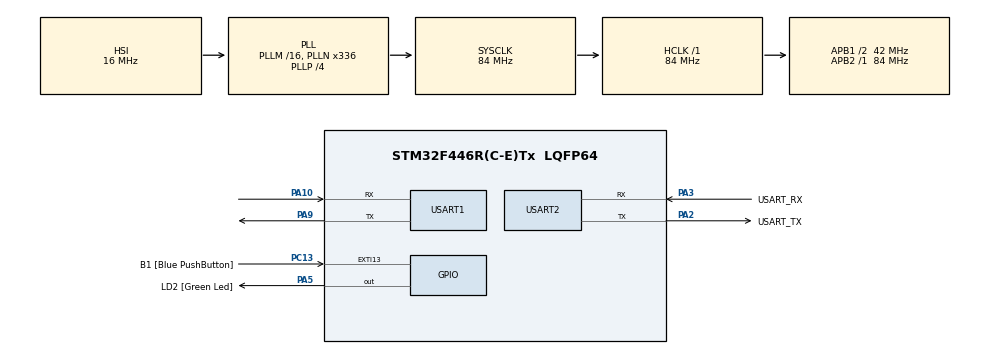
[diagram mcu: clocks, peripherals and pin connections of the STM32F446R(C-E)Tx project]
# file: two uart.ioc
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Mcu.Family=STM32F4
Mcu.Name=STM32F446R(C-E)Tx
Mcu.Package=LQFP64
NVIC.PriorityGroup=NVIC_PRIORITYGROUP_0
NVIC.USART1_IRQn=true\:0\:0\:false\:false\:true\:true\:true\:true
NVIC.USART2_IRQn=true\:0\:0\:false\:false\:true\:true\:true\:true
PA10.Mode=Asynchronous
PA10.Signal=USART1_RX
PA13.GPIO_Label=TMS
PA13.Mode=Serial_Wire
PA13.Signal=SYS_JTMS-SWDIO
PA14.GPIO_Label=TCK
PA14.Mode=Serial_Wire
PA14.Signal=SYS_JTCK-SWCLK
PA2.GPIO_Label=USART_TX
PA2.Mode=Asynchronous
PA2.Signal=USART2_TX
PA3.GPIO_Label=USART_RX
PA3.Mode=Asynchronous
PA3.Signal=USART2_RX
PA5.GPIO_Label=LD2 [Green Led]
PA5.Signal=GPIO_Output
PA9.Mode=Asynchronous
PA9.Signal=USART1_TX
PB3.GPIO_Label=SWO
PB3.Signal=SYS_JTDO-SWO
PC13.GPIO_Label=B1 [Blue PushButton]
PC13.GPIO_ModeDefaultEXTI=GPIO_MODE_IT_FALLING
PC13.Signal=GPXTI13
PC14-OSC32_IN.Mode=LSE-External-Oscillator
PC14-OSC32_IN.Signal=RCC_OSC32_IN
PC15-OSC32_OUT.Mode=LSE-External-Oscillator
PC15-OSC32_OUT.Signal=RCC_OSC32_OUT
PH0-OSC_IN.Mode=HSE-External-Oscillator
PH0-OSC_IN.Signal=RCC_OSC_IN
PH1-OSC_OUT.Mode=HSE-External-Oscillator
PH1-OSC_OUT.Signal=RCC_OSC_OUT
ProjectManager.HeapSize=0x200
ProjectManager.StackSize=0x400
ProjectManager.TargetToolchain=STM32CubeIDE
RCC.48MHZClocksFreq_Value=84000000
RCC.AHBFreq_Value=84000000
RCC.APB1CLKDivider=RCC_HCLK_DIV2
RCC.APB1Freq_Value=42000000
RCC.APB1TimFreq_Value=84000000
RCC.APB2Freq_Value=84000000
RCC.APB2TimFreq_Value=84000000
RCC.CortexFreq_Value=84000000
RCC.FLatency-AdvancedSettings=FLASH_LATENCY_2
RCC.HCLKFreq_Value=84000000
RCC.HSE_VALUE=8000000
RCC.HSI_VALUE=16000000
RCC.PLLN=336
RCC.PLLP=RCC_PLLP_DIV4
RCC.SYSCLKFreq_VALUE=84000000
RCC.SYSCLKSource=RCC_SYSCLKSOURCE_PLLCLK
RCC.USBFreq_Value=168000000
RCC.VCOOutputFreq_Value=336000000
USART1.VirtualMode=VM_ASYNC
USART2.VirtualMode=VM_ASYNC
board=NUCLEO-F446RE

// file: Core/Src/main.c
/* USER CODE BEGIN Header */
/**
  ******************************************************************************
  * @file           : main.c
  * @brief          : Main program body
  ******************************************************************************
  * @attention
  *
  * Copyright (c) 2025 STMicroelectronics.
  * All rights reserved.
  *
  * This software is licensed under terms that can be found in the LICENSE file
  * in the root directory of this software component.
  * If no LICENSE file comes with this software, it is provided AS-IS.
  *
  ******************************************************************************
  */
/* USER CODE END Header */
#include "main.h"

UART_HandleTypeDef huart1;
UART_HandleTypeDef huart2;
uint8_t buff1[10];
uint8_t buff2[10];
uint8_t clr[10];

/* USER CODE BEGIN PV */
void clr1()
{
for (int i = 0; i < 10; ++i)
{
	buff1[i]=clr[i];
}
}
void clr2()
{
for (int i = 0; i < 10; ++i)
{
	buff2[i]=clr[i];
}
}

/* USER CODE END PV */

void SystemClock_Config(void);
static void MX_GPIO_Init(void);
static void MX_USART2_UART_Init(void);
static void MX_USART1_UART_Init(void);

/* USER CODE BEGIN 0 */
void HAL_UART_RxCpltCallback(UART_HandleTypeDef *huart)
{
	if(huart==&huart2)
	{
	HAL_UART_Receive_IT(&huart2, buff2, 10);
	HAL_UART_Transmit_IT(&huart1, buff2, 10);
	}
	if(huart==&huart1)
	{
	HAL_UART_Receive_IT(&huart1, buff1, 10);
	HAL_UART_Transmit_IT(&huart2, buff1, 10);
	}

}
void HAL_UART_TxCpltCallback(UART_HandleTypeDef *huart)
{
	if(huart==&huart2)
	{
	HAL_UART_Transmit(&huart1, buff2, 10,200);
	clr1();
	}
	if(huart==&huart1)
	{
	HAL_UART_Transmit(&huart2, buff1, 10,200);
	clr2();
	}

}
/* USER CODE END 0 */

int main(void)
{

  /* MCU Configuration--------------------------------------------------------*/

  /* Reset of all peripherals, Initializes the Flash interface and the Systick. */
  HAL_Init();

  /* Configure the system clock */
  SystemClock_Config();

  /* Initialize all configured peripherals */
  MX_GPIO_Init();
  MX_USART2_UART_Init();
  MX_USART1_UART_Init();
  /* USER CODE BEGIN 2 */
	HAL_UART_Receive_IT(&huart2, buff2, 10);
	HAL_UART_Receive_IT(&huart1, buff1, 10);
	HAL_UART_Transmit_IT(&huart1, buff1, 10);
	HAL_UART_Transmit_IT(&huart2, buff1, 10);

  /* USER CODE END 2 */

  /* Infinite loop */
  while (1)
  {
//	  HAL_UART_Transmit(&huart1, buff2, 10,200);
//	  HAL_UART_Transmit(&huart2, buff1, 10, 200);
//	  HAL_Delay(1000);
  }
}

void SystemClock_Config(void)
{
  RCC_OscInitTypeDef RCC_OscInitStruct = {0};
  RCC_ClkInitTypeDef RCC_ClkInitStruct = {0};

  /** Configure the main internal regulator output voltage
  */
  __HAL_RCC_PWR_CLK_ENABLE();
  __HAL_PWR_VOLTAGESCALING_CONFIG(PWR_REGULATOR_VOLTAGE_SCALE3);

  /** Initializes the RCC Oscillators according to the specified parameters
  * in the RCC_OscInitTypeDef structure.
  */
  RCC_OscInitStruct.OscillatorType = RCC_OSCILLATORTYPE_HSI;
  RCC_OscInitStruct.HSIState = RCC_HSI_ON;
  RCC_OscInitStruct.HSICalibrationValue = RCC_HSICALIBRATION_DEFAULT;
  RCC_OscInitStruct.PLL.PLLState = RCC_PLL_ON;
  RCC_OscInitStruct.PLL.PLLSource = RCC_PLLSOURCE_HSI;
  RCC_OscInitStruct.PLL.PLLM = 16;
  RCC_OscInitStruct.PLL.PLLN = 336;
  RCC_OscInitStruct.PLL.PLLP = RCC_PLLP_DIV4;
  RCC_OscInitStruct.PLL.PLLQ = 2;
  RCC_OscInitStruct.PLL.PLLR = 2;
  if (HAL_RCC_OscConfig(&RCC_OscInitStruct) != HAL_OK)
  {
    Error_Handler();
  }

  /** Initializes the CPU, AHB and APB buses clocks
  */
  RCC_ClkInitStruct.ClockType = RCC_CLOCKTYPE_HCLK|RCC_CLOCKTYPE_SYSCLK
                              |RCC_CLOCKTYPE_PCLK1|RCC_CLOCKTYPE_PCLK2;
  RCC_ClkInitStruct.SYSCLKSource = RCC_SYSCLKSOURCE_PLLCLK;
  RCC_ClkInitStruct.AHBCLKDivider = RCC_SYSCLK_DIV1;
  RCC_ClkInitStruct.APB1CLKDivider = RCC_HCLK_DIV2;
  RCC_ClkInitStruct.APB2CLKDivider = RCC_HCLK_DIV1;

  if (HAL_RCC_ClockConfig(&RCC_ClkInitStruct, FLASH_LATENCY_2) != HAL_OK)
  {
    Error_Handler();
  }
}

static void MX_USART1_UART_Init(void)
{

  huart1.Instance = USART1;
  huart1.Init.BaudRate = 115200;
  huart1.Init.WordLength = UART_WORDLENGTH_8B;
  huart1.Init.StopBits = UART_STOPBITS_1;
  huart1.Init.Parity = UART_PARITY_NONE;
  huart1.Init.Mode = UART_MODE_TX_RX;
  huart1.Init.HwFlowCtl = UART_HWCONTROL_NONE;
  huart1.Init.OverSampling = UART_OVERSAMPLING_16;
  if (HAL_UART_Init(&huart1) != HAL_OK)
  {
    Error_Handler();
  }

}

static void MX_USART2_UART_Init(void)
{

  huart2.Instance = USART2;
  huart2.Init.BaudRate = 115200;
  huart2.Init.WordLength = UART_WORDLENGTH_8B;
  huart2.Init.StopBits = UART_STOPBITS_1;
  huart2.Init.Parity = UART_PARITY_NONE;
  huart2.Init.Mode = UART_MODE_TX_RX;
  huart2.Init.HwFlowCtl = UART_HWCONTROL_NONE;
  huart2.Init.OverSampling = UART_OVERSAMPLING_16;
  if (HAL_UART_Init(&huart2) != HAL_OK)
  {
    Error_Handler();
  }

}

static void MX_GPIO_Init(void)
{
  GPIO_InitTypeDef GPIO_InitStruct = {0};

  /* GPIO Ports Clock Enable */
  __HAL_RCC_GPIOC_CLK_ENABLE();
  __HAL_RCC_GPIOH_CLK_ENABLE();
  __HAL_RCC_GPIOA_CLK_ENABLE();
  __HAL_RCC_GPIOB_CLK_ENABLE();

  /*Configure GPIO pin Output Level */
  HAL_GPIO_WritePin(LD2_GPIO_Port, LD2_Pin, GPIO_PIN_RESET);

  /*Configure GPIO pin : B1_Pin */
  GPIO_InitStruct.Pin = B1_Pin;
  GPIO_InitStruct.Mode = GPIO_MODE_IT_FALLING;
  GPIO_InitStruct.Pull = GPIO_NOPULL;
  HAL_GPIO_Init(B1_GPIO_Port, &GPIO_InitStruct);

  /*Configure GPIO pin : LD2_Pin */
  GPIO_InitStruct.Pin = LD2_Pin;
  GPIO_InitStruct.Mode = GPIO_MODE_OUTPUT_PP;
  GPIO_InitStruct.Pull = GPIO_NOPULL;
  GPIO_InitStruct.Speed = GPIO_SPEED_FREQ_LOW;
  HAL_GPIO_Init(LD2_GPIO_Port, &GPIO_InitStruct);

}

void Error_Handler(void)
{
  __disable_irq();
  while (1)
  {
  }
}
